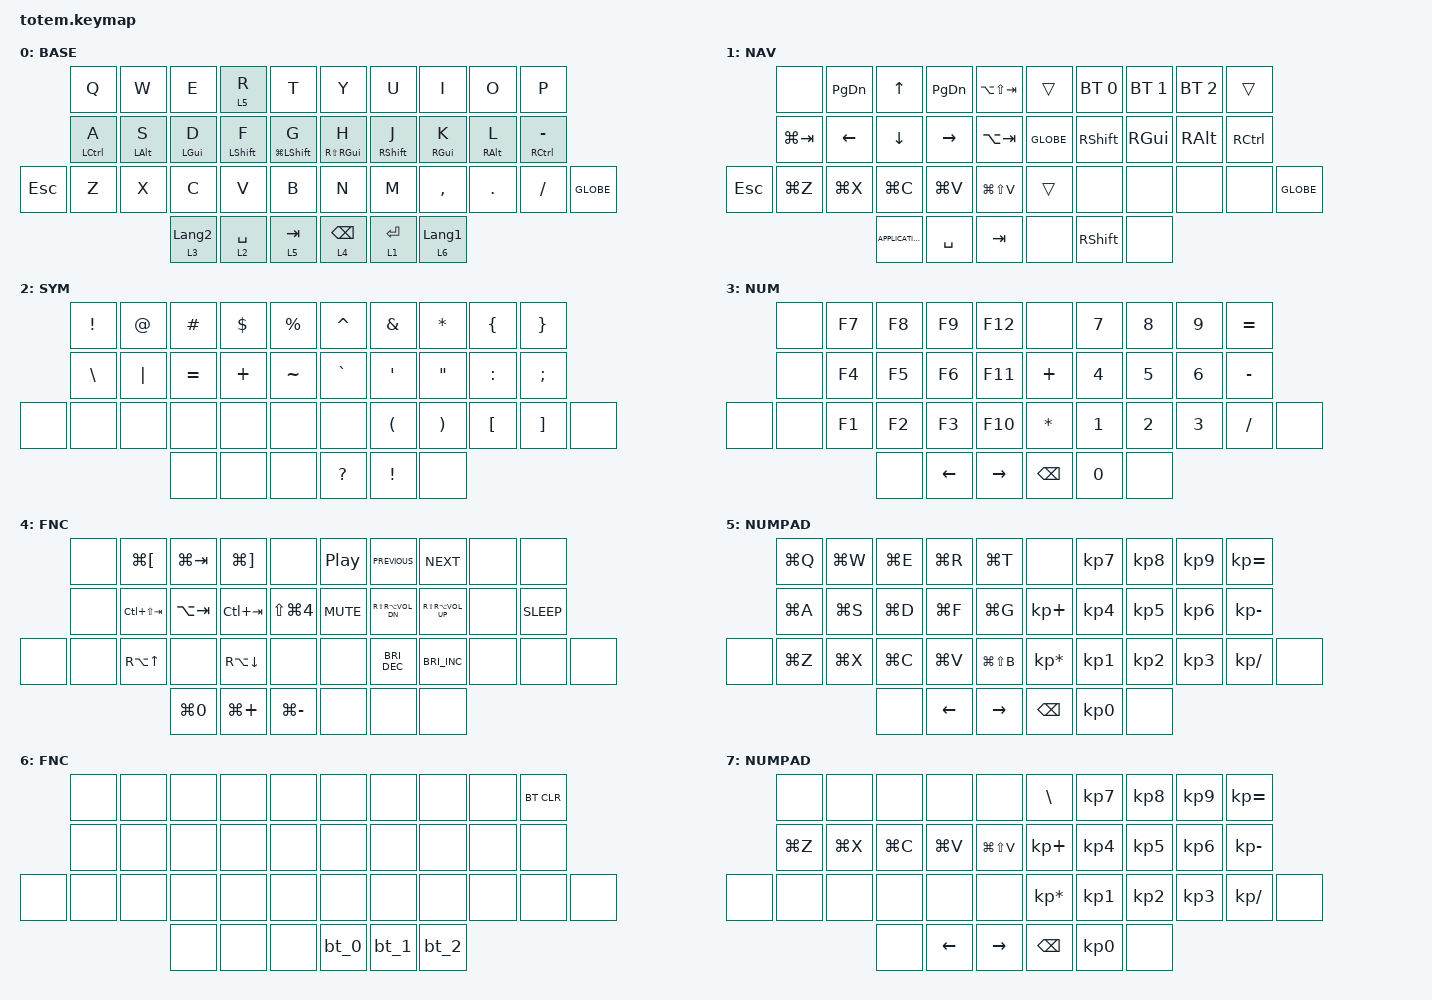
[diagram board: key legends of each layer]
//
//                                                        ▀▀▀▀▀     ▀▀▀▀▀          ▀▀█▀▀
//                                                        ▄▀▀▀▄  ▄  ▄▀▀▀▄  ▄  ▄▀▀▀▄  █  ▄▀▀▀▄
//                                                        █   █  █  █   █  █  █   █  █  █   █
//                                                         ▀▀▀   █   ▀▀▀   █   ▀▀▀   ▀   ▀▀▀
//                                                               █      ▄▄▄█▄▄▄    █   █  
//                                                               ▀      █  █  █     █▄█
//                                                             ▀▀▀▀▀    █  █  █      ▀
//                                                                      ▀  ▀  ▀
//
// ▄▄▄▄▄▄▄▄▄▄▄▄▄▄▄▄▄▄▄▄▄▄▄▄▄▄▄▄▄▄▄▄▄▄▄▄▄▄▄▄▄▄▄▄▄▄▄▄▄▄▄▄▄▄▄▄▄▄▄▄▄▄▄▄▄▄▄▄▄▄▄▄▄▄▄▄▄▄▄▄▄▄▄▄▄▄▄▄▄▄▄▄▄▄▄▄▄▄▄▄▄▄▄▄▄▄▄▄▄▄▄▄▄▄▄▄▄▄▄▄▄▄▄▄▄▄▄▄▄▄▄▄▄▄▄▄▄▄▄▄▄▄▄▄▄▄▄▄▄

#include <behaviors.dtsi>
#include <dt-bindings/zmk/bt.h>
#include <dt-bindings/zmk/keys.h>
#include <dt-bindings/zmk/outputs.h>

//
//       ___________________________________
//      |  0  1  2  3  4  |   5  6  7  8  9 | 
//   ___| 10 11 12 13 14  |  15 16 17 18 19 |__
//  |  20 21 22 23 24 25  |  26 27 28 29 30 31 |
//  -------------------------------------------
//            | 32 33 34  |  35 36 37 |
//             -----------------------

#define BASE       0
#define NAV        1
#define SYM        2
#define NUM        3
#define FNC        4
#define NUMPAD     5
#define BT         6
#define NUMPAD_CPP 7
#define COMBO_MS   30
#define COMBO3_MS  50

/ {
    combos {
        compatible = "zmk,combos";

        combo_ctrl_en {
            bindings = <&enenter>;
            key-positions = <16 18>;
            layers = <0>;
        };

        combo_caps {
            bindings = <&caps_word>;
            key-positions = <13 16>;
            timeout-ms = <COMBO_MS>;
            layers = <0>;
        };

        combo_jp {
            bindings = <&kp LANGUAGE_1>;
            key-positions = <16 17>;
            layers = <0>;
            require-prior-idle-ms = <50>;
        };

        combo_en {
            bindings = <&kp LANGUAGE_2>;
            key-positions = <12 13>;
            layers = <0>;
            require-prior-idle-ms = <50>;
        };

        combo_src {
            bindings = <&combo_src>;
            key-positions = <34 33>;
            layers = <0>;
        };

        combo_esc {
            bindings = <&kp ESC>;
            key-positions = <11 13>;
            layers = <0>;
        };

        bt_clear_all {
            bindings = <&bt BT_CLR_ALL>;
            key-positions = <6 7 8>;
            layers = <1>;
        };

        combo_ent {
            bindings = <&kp ENTER>;
            key-positions = <23 24>;
            layers = <0>;
        };

        combo_bs {
            bindings = <&kp BACKSPACE>;
            key-positions = <13 14>;
            layers = <0>;
        };
    };

    macros {
        bt_0: bt_0 {
            label = "BT_0";
            compatible = "zmk,behavior-macro";
            #binding-cells = <0>;
            bindings = <&out OUT_BLE &bt BT_SEL 0>;
        };

        bt_1: bt_1 {
            label = "BT_1";
            compatible = "zmk,behavior-macro";
            #binding-cells = <0>;
            bindings = <&out OUT_BLE &bt BT_SEL 1>;
        };

        bt_2: bt_2 {
            label = "BT_2";
            compatible = "zmk,behavior-macro";
            #binding-cells = <0>;
            bindings = <&out OUT_BLE &bt BT_SEL 2>;
        };

        arigatou: arigatou {
            compatible = "zmk,behavior-macro";
            label = "ARIGATOU";
            #binding-cells = <0>;
            bindings = <&kp LANG1 &kp A &kp R &kp I &kp G &kp A &kp T &kp O &kp U &kp G &kp O &kp Z &kp A &kp I &kp M &kp A &kp S &kp U>;
        };

        combo_src: combo_src {
            compatible = "zmk,behavior-macro";
            #binding-cells = <0>;
            bindings = <&kp N5 &kp N7 &kp N0 &kp N4 &kp ENTER>;
            label = "COMBO_SRC";
        };

        double_enter: double_enter {
            compatible = "zmk,behavior-macro";
            #binding-cells = <0>;
            bindings = <&kp ENTER &kp ENTER>;
            label = "DOUBLE_ENTER";
        };

        enenter: enenter {
            compatible = "zmk,behavior-macro";
            #binding-cells = <0>;
            bindings = <&kp LC(SEMICOLON) &kp LANGUAGE_2 &kp LANGUAGE_1>;
            label = "ENENTER";
        };
    };

    lp: lp {
        compatible = "zmk,behavior-hold-tap";
        label = "LAYER|KP";
        flavor = "hold-preferred";
        tapping-term-ms = <160>;
        quick-tap-ms = <105>;
        bindings = <&mo>, <&kp>;

        #binding-cells = <2>;
    };

    cm: cm {
        compatible = "zmk,behavior-hold-tap";
        label = "CM";
        flavor = "tap-preferred";
        tapping-term-ms = <160>;
        quick-tap-ms = <105>;
        bindings = <&kp>, <&kp>;

        #binding-cells = <2>;
    };

    high_lp: high_lp {
        compatible = "zmk,behavior-hold-tap";
        label = "HIGH_LP";
        flavor = "tap-preferred";
        tapping-term-ms = <160>;
        quick-tap-ms = <105>;
        bindings = <&mo>, <&kp>;

        #binding-cells = <2>;
    };

    behaviors {
    };

    keymap {
        compatible = "zmk,keymap";

        // ▄▄▄▄▄▄▄▄▄▄▄▄▄▄▄▄▄▄▄▄▄▄▄▄▄▄▄▄▄▄▄▄▄▄▄▄▄▄▄▄▄▄▄▄▄▄▄▄▄▄▄▄▄▄▄▄▄▄▄▄▄▄▄▄▄▄▄▄▄▄▄▄▄▄▄▄▄▄▄▄▄▄▄▄▄▄▄▄▄▄▄▄▄▄▄▄▄▄▄▄▄▄▄▄▄▄▄▄▄▄▄▄▄▄▄▄▄▄▄▄▄▄▄▄▄▄▄▄▄▄▄▄▄▄▄▄▄▄▄▄▄▄▄▄▄▄▄▄▄

        base_layer {
            label = "BASE";
            bindings = <
            &kp Q        &kp W       &kp E             &high_lp 5 R  &kp T               &kp Y                &kp U        &kp I             &kp O       &kp P
            &cm LCTRL A  &cm LALT S  &cm LGUI D        &cm LSHFT F   &cm LG(LSHIFT) G    &cm RS(RIGHT_GUI) H  &cm RSHFT J  &cm RGUI K        &cm RALT L  &cm RCTRL MINUS
&kp ESCAPE  &kp Z        &kp X       &kp C             &kp V         &kp B               &kp N                &kp M        &kp COMMA         &kp PERIOD  &kp SLASH        &kp GLOBE
                                     &lp 3 LANGUAGE_2  &lp 2 SPACE   &lp 5 TAB           &lp 4 BACKSPACE      &lp 1 ENTER  &lp 6 LANGUAGE_1
            >;
        };

        nav {
            label = "NAV";
            bindings = <
            &none        &kp PAGE_DOWN   &kp UP_ARROW       &kp PAGE_DOWN    &kp LA(LS(TAB))    &trans     &bt BT_SEL 0  &bt BT_SEL 1  &bt BT_SEL 2  &trans
            &kp LG(TAB)  &kp LEFT_ARROW  &kp DOWN_ARROW     &kp RIGHT_ARROW  &kp LA(TAB)        &kp GLOBE  &kp RSHFT     &kp RGUI      &kp RALT      &kp RCTRL
&kp ESCAPE  &kp LG(Z)    &kp LG(X)       &kp LG(C)          &kp LG(V)        &kp LG(LS(V))      &trans     &none         &none         &none         &none      &kp GLOBE
                                         &kp K_APPLICATION  &kp SPACE        &kp TAB            &none      &kp RSHFT     &none
            >;
        };

        sym {
            label = "SYM";
            bindings = <
       &kp EXCL  &kp AT    &kp HASH   &kp DLLR  &kp PRCNT    &kp CARET     &kp AMPS  &kp STAR  &kp LBRC   &kp RBRC
       &kp BSLH  &kp PIPE  &kp EQUAL  &kp PLUS  &kp TILDE    &kp GRAVE     &kp SQT   &kp DQT   &kp COLON  &kp SEMI
&none  &none     &none     &none      &none     &none        &none         &kp LPAR  &kp RPAR  &kp LBKT   &kp RBKT  &none
                           &none      &none     &none        &kp QUESTION  &kp EXCL  &none
            >;
        };

        num {
            label = "NUM";
            bindings = <
       &none  &kp F7  &kp F8  &kp F9    &kp F12      &none          &kp N7        &kp N8  &kp N9  &kp EQUAL
       &none  &kp F4  &kp F5  &kp F6    &kp F11      &kp PLUS       &kp N4        &kp N5  &kp N6  &kp MINUS
&none  &none  &kp F1  &kp F2  &kp F3    &kp F10      &kp STAR       &kp N1        &kp N2  &kp N3  &kp FSLH   &none
                      &none   &kp LEFT  &kp RIGHT    &kp BACKSPACE  &kp NUMBER_0  &none
            >;
        };

        fnc {
            label = "FNC";
            bindings = <
       &none  &kp LG(LEFT_BRACKET)  &kp LG(TAB)  &kp LG(RIGHT_BRACKET)  &none             &kp C_PP    &kp C_PREVIOUS        &kp C_NEXT            &none  &none
       &none  &kp LC(LS(TAB))       &kp LA(TAB)  &kp LC(TAB)            &kp LS(LG(N4))    &kp K_MUTE  &kp RS(RA(C_VOL_DN))  &kp RS(RA(C_VOL_UP))  &none  &kp C_SLEEP
&none  &none  &kp RA(UP)            &none        &kp RA(DOWN)           &none             &none       &kp C_BRI_DEC         &kp C_BRI_INC         &none  &none        &none
                                    &kp LG(N0)   &kp LG(PLUS)           &kp LG(MINUS)     &none       &none                 &none
            >;
        };

        numpad {
            label = "NUMPAD";
            bindings = <
       &kp LG(Q)  &kp LG(W)  &kp LG(E)  &kp LG(R)  &kp LG(T)        &none            &kp KP_NUMBER_7  &kp KP_NUMBER_8  &kp KP_NUMBER_9  &kp KP_EQUAL
       &kp LG(A)  &kp LG(S)  &kp LG(D)  &kp LG(F)  &kp LG(G)        &kp KP_PLUS      &kp KP_NUMBER_4  &kp KP_NUMBER_5  &kp KP_NUMBER_6  &kp KP_MINUS
&none  &kp LG(Z)  &kp LG(X)  &kp LG(C)  &kp LG(V)  &kp LG(LS(B))    &kp KP_ASTERISK  &kp KP_NUMBER_1  &kp KP_NUMBER_2  &kp KP_NUMBER_3  &kp KP_DIVIDE  &none
                             &none      &kp LEFT   &kp RIGHT        &kp BACKSPACE    &kp KP_NUMBER_0  &none
            >;
        };

        bt {
            label = "FNC";
            bindings = <
       &none  &none  &none  &none  &none    &none  &none  &none  &none  &bt BT_CLR
       &none  &none  &none  &none  &none    &none  &none  &none  &none  &none
&none  &none  &none  &none  &none  &none    &none  &none  &none  &none  &none       &none
                     &none  &none  &none    &bt_0  &bt_1  &bt_2
            >;
        };

        numpad_cpp {
            label = "NUMPAD";
            bindings = <
       &none      &none      &none      &none      &none            &kp BSLH         &kp KP_NUMBER_7  &kp KP_NUMBER_8  &kp KP_NUMBER_9  &kp KP_EQUAL
       &kp LG(Z)  &kp LG(X)  &kp LG(C)  &kp LG(V)  &kp LG(LS(V))    &kp KP_PLUS      &kp KP_NUMBER_4  &kp KP_NUMBER_5  &kp KP_NUMBER_6  &kp KP_MINUS
&none  &none      &none      &none      &none      &none            &kp KP_ASTERISK  &kp KP_NUMBER_1  &kp KP_NUMBER_2  &kp KP_NUMBER_3  &kp KP_DIVIDE  &none
                             &none      &kp LEFT   &kp RIGHT        &kp BACKSPACE    &kp KP_NUMBER_0  &none
            >;
        };

        //nav_layer { label = "template"; bindings = <
        //          &none          &none          &none          &none          &none          &none          &none          &none          &none          &none
        //          &none          &none          &none          &none          &none          &none          &none          &none          &none          &none          
        //&none          &none          &none          &none          &none          &none          &none          &none          &none          &none          &none          &none          
        //                                      &none          &none          &none          &none          &none          &none
        //>;};
        // ▄▄▄▄▄▄▄▄▄▄▄▄▄▄▄▄▄▄▄▄▄▄▄▄▄▄▄▄▄▄▄▄▄▄▄▄▄▄▄▄▄▄▄▄▄▄▄▄▄▄▄▄▄▄▄▄▄▄▄▄▄▄▄▄▄▄▄▄▄▄▄▄▄▄▄▄▄▄▄▄▄▄▄▄▄▄▄▄▄▄▄▄▄▄▄▄▄▄▄▄▄▄▄▄▄▄▄▄▄▄▄▄▄▄▄▄▄▄▄▄▄▄▄▄▄▄▄▄▄▄▄▄▄▄▄▄▄▄▄▄▄▄▄▄▄▄▄▄▄
    };

    conditional_layers { compatible = "zmk,conditional-layers"; };
};
